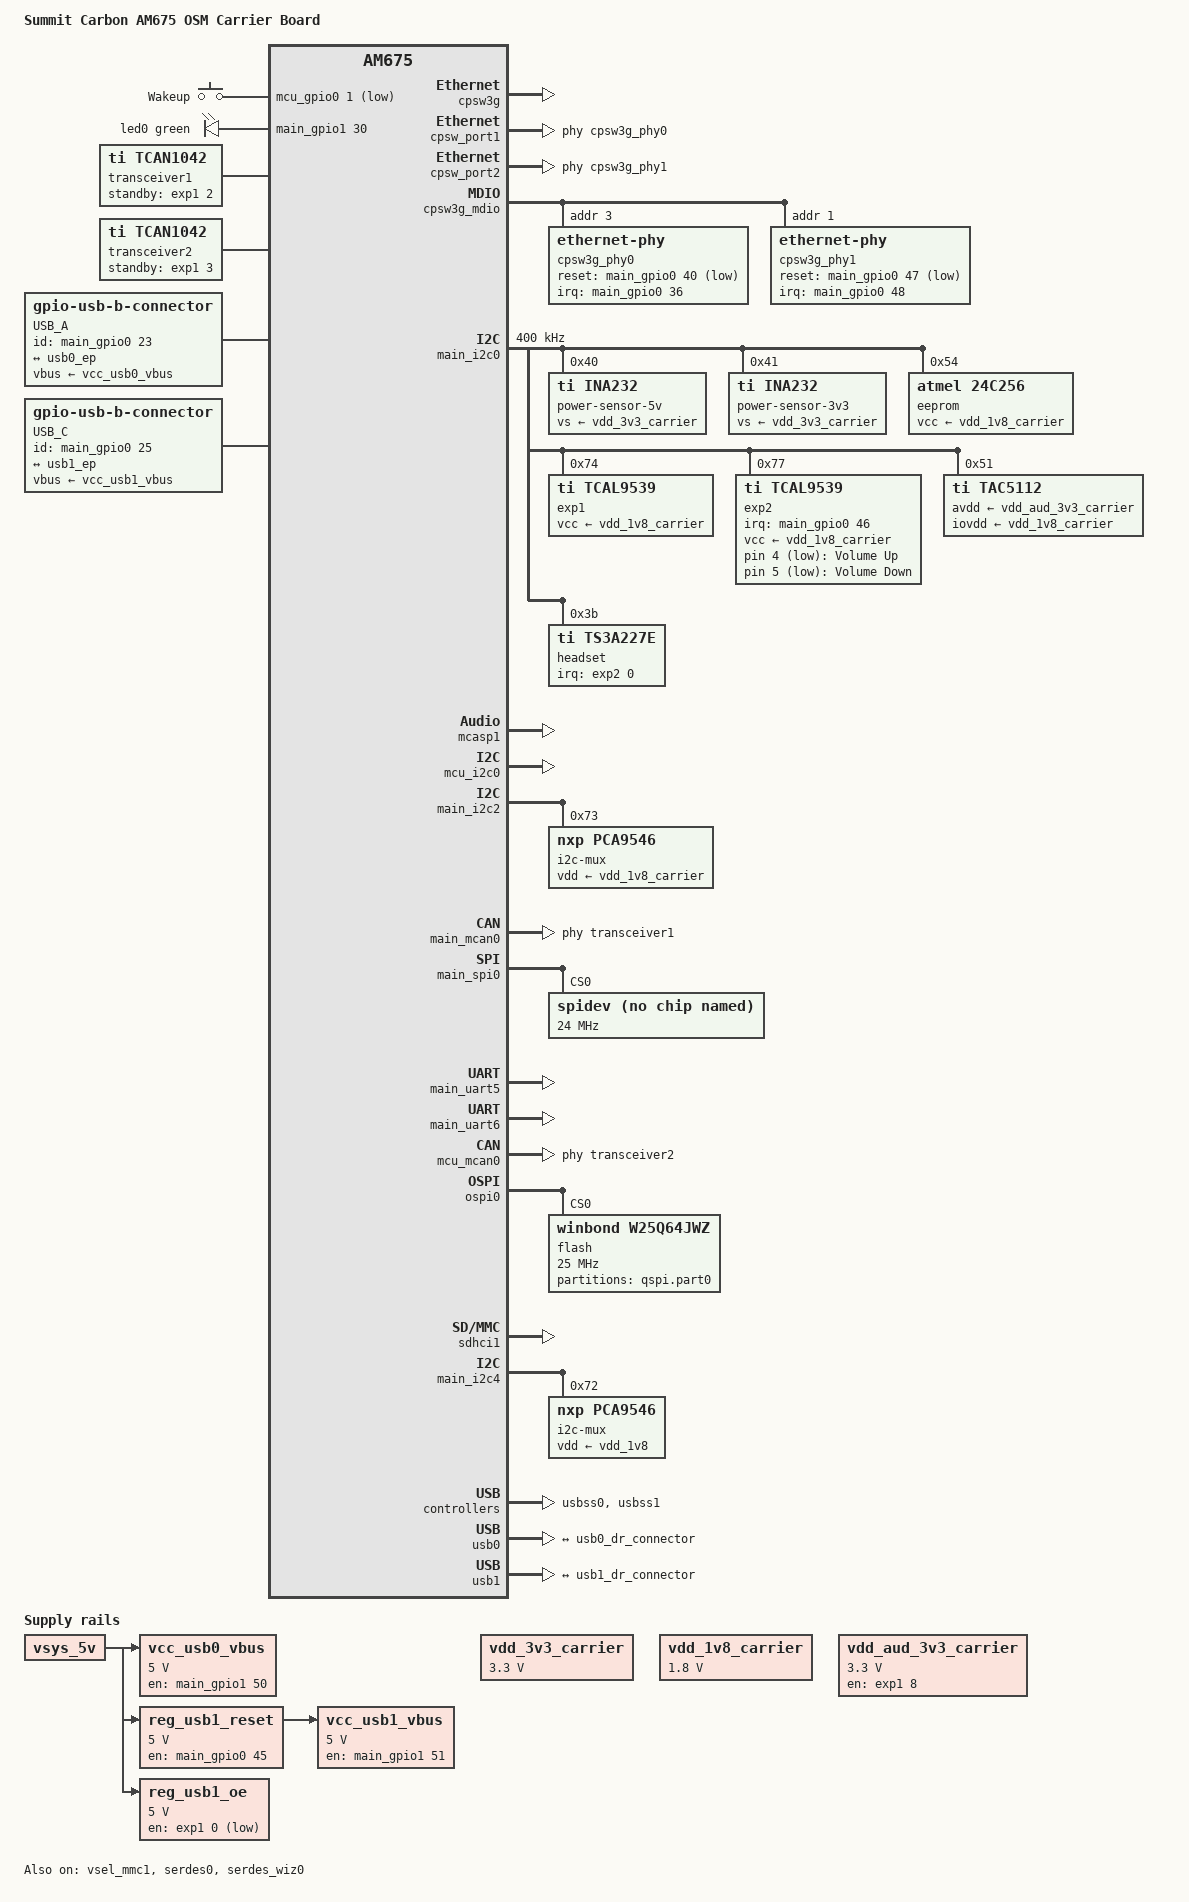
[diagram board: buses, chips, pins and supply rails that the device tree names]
// SPDX-License-Identifier: GPL-2.0-or-later OR MIT
/*
 * Copyright 2025 Ezurio LLC
 *
 */

/dts-v1/;

#include <dt-bindings/leds/common.h>

#include "k3-am675-carbon-som.dtsi"

/ {
	model = "Summit Carbon AM675 OSM Carrier Board";
	compatible = "summit,am675-dev", "ti,j722s";

	aliases {
		gpio4 = &exp1;
		gpio5 = &exp2;
	};

	vdd_3v3_carrier: regulator-u4-sw2 {
		/* output of U4 */
		compatible = "regulator-fixed";
		regulator-name = "vdd_3v3_carrier";
		regulator-min-microvolt = <3300000>;
		regulator-max-microvolt = <3300000>;
		regulator-always-on;
		regulator-boot-on;
	};

	vdd_1v8_carrier: regulator-u4-sw3 {
		/* output of U4 */
		compatible = "regulator-fixed";
		regulator-name = "vdd_1v8_carrier";
		regulator-min-microvolt = <1800000>;
		regulator-max-microvolt = <1800000>;
		regulator-always-on;
		regulator-boot-on;
	};

	vdd_aud_3v3_carrier: regulator-aud-pwr {
		compatible = "regulator-fixed";
		regulator-name = "vdd_aud_3v3_carrier";
		regulator-min-microvolt = <3300000>;
		regulator-max-microvolt = <3300000>;
		enable-active-high;
		gpio = <&exp1 8 GPIO_ACTIVE_HIGH>;
	};

	codec_audio: sound {
		compatible = "simple-audio-card";

		simple-audio-card,bitclock-master = <&dailink0_master>;
		simple-audio-card,frame-master = <&dailink0_master>;

		simple-audio-card,name = "ti,tac5x1x-soundcard";
		simple-audio-card,format = "i2s";

		simple-audio-card,widgets =
			"Headphone", "Headphone Jack",
			"Line",      "Line In",
			"Line",      "Line Out";

		simple-audio-card,routing =
			"Headphone Jack", "OUT1",
			"Headphone Jack", "OUT2",
			"AIN1", "Line In",
			"AIN2", "Line In",
			"Line Out", "OUT1",
			"Line Out", "OUT2";

		simple-audio-card,aux-devs = <&headset>;

		dailink0_master: simple-audio-card,cpu {
			sound-dai = <&mcasp1>;
			bitclock-master;
			frame-master;
			system-clock-direction-out;
		};

		simple-audio-card,codec {
			sound-dai = <&tac5112>;
		};
	};

	audio_volume {
		compatible = "gpio-keys";

		volume-up {
			label = "Volume Up";
			gpios = <&exp2 4 (GPIO_ACTIVE_LOW | GPIO_PULL_UP)>;
			linux,code = <KEY_VOLUMEUP>;
		};

		volume-down {
			label = "Volume Down";
			gpios = <&exp2 5 (GPIO_ACTIVE_LOW | GPIO_PULL_UP)>;
			linux,code = <KEY_VOLUMEDOWN>;
		};

		cpu_wakeup {
			label = "Wakeup";
			gpios = <&mcu_gpio0 1 GPIO_ACTIVE_LOW>;
			linux,code = <KEY_WAKEUP>;
			wakeup-source;
		};
	};

	leds {
		compatible = "gpio-leds";

		pinctrl-names = "default";
		pinctrl-0 = <&main_led_pins_default>;

		led0 {
			color = <LED_COLOR_ID_GREEN>;
			gpios = <&main_gpio1 30 GPIO_ACTIVE_HIGH>;
			default-state = "off";
		};
	};

	transceiver1: can-phy0 {
		compatible = "ti,tcan1042";
		#phy-cells = <0>;
		max-bitrate = <5000000>;
		standby-gpios = <&exp1 2 GPIO_ACTIVE_HIGH>; /* TCAN1046 STB is active HIGH */
	};

	transceiver2: can-phy1 {
		compatible = "ti,tcan1042";
		#phy-cells = <0>;
		max-bitrate = <5000000>;
		standby-gpios = <&exp1 3 GPIO_ACTIVE_HIGH>; /* TCAN1046 STB is active HIGH */
	};

	vcc_usb0_vbus: regulator-usb0-vbus {
		compatible = "regulator-fixed";
		vin-supply = <&vsys_5v>;
		pinctrl-names = "default";
		pinctrl-0 = <&main_usb0_pins_default>;
		enable-active-high;
		gpio = <&main_gpio1 50 GPIO_ACTIVE_HIGH>;
		regulator-max-microvolt = <5000000>;
		regulator-min-microvolt = <5000000>;
		regulator-name = "vcc_usb0_vbus";
	};

	reg_usb1_reset: regulator-usb1-reset {
		compatible = "regulator-fixed";
		vin-supply = <&vsys_5v>;
		pinctrl-names = "default";
		pinctrl-0 = <&main_usb_c_reset_pins_default>;
		enable-active-high;
		gpio = <&main_gpio0 45 GPIO_ACTIVE_HIGH>;
		regulator-max-microvolt = <5000000>;
		regulator-min-microvolt = <5000000>;
		regulator-name = "reg_usb1_reset";
	};

	reg_usb1_oe: regulator-usb1-oe {
		compatible = "regulator-fixed";
		vin-supply = <&vsys_5v>;
		gpio = <&exp1 0 GPIO_ACTIVE_HIGH>;
		regulator-max-microvolt = <5000000>;
		regulator-min-microvolt = <5000000>;
		regulator-name = "reg_usb1_oe";
		regulator-always-on;
	};

	vcc_usb1_vbus: regulator-usb1-vbus {
		compatible = "regulator-fixed";
		vin-supply = <&reg_usb1_reset>;
		pinctrl-names = "default";
		pinctrl-0 = <&main_usb1_pins_default>;
		enable-active-high;
		gpio = <&main_gpio1 51 GPIO_ACTIVE_HIGH>;
		regulator-max-microvolt = <5000000>;
		regulator-min-microvolt = <5000000>;
		regulator-name = "vcc_usb1_vbus";
	};

	con_usb0: connector-usb0 {
		compatible = "gpio-usb-b-connector", "usb-b-connector";
		pinctrl-names = "default";
		pinctrl-0 = <&usb_a_id_pins_default>;
		id-gpios = <&main_gpio0 23 GPIO_ACTIVE_HIGH>;
		label = "USB_A";
		self-powered;
		vbus-supply = <&vcc_usb0_vbus>;

		port {
			usb0_dr_connector: endpoint {
				remote-endpoint = <&usb0_ep>;
			};
		};
	};

	con_usb1: connector-usb1 {
		compatible = "gpio-usb-b-connector", "usb-c-connector";
		pinctrl-names = "default";
		pinctrl-0 = <&usb_c_id_pins_default>;
		id-gpios = <&main_gpio0 25 GPIO_ACTIVE_HIGH>;
		label = "USB_C";
		self-powered;
		vbus-supply = <&vcc_usb1_vbus>;

		port {
			usb1_dr_connector: endpoint {
				remote-endpoint = <&usb1_ep>;
			};
		};
	};
};

&cpsw3g {
	status = "okay";
};

&cpsw_port1 {
	status = "okay";
	phy-handle = <&cpsw3g_phy0>;
};

&cpsw_port2 {
	status = "okay";
	phy-handle = <&cpsw3g_phy1>;
};

&cpsw3g_mdio {
	pinctrl-names = "default";
	pinctrl-0 = <&main_mdio0_pins_default>, <&main_rgmii_phy0_gpio>,
		<&main_rgmii_phy1_gpio>;

	status = "okay";

	cpsw3g_phy0: ethernet-phy@3 {
		reg = <3>;
		interrupts-extended = <&main_gpio0 36 IRQ_TYPE_EDGE_FALLING>;
		reset-gpios = <&main_gpio0 40 GPIO_ACTIVE_LOW>;
		reset-assert-us = <150>;
		reset-deassert-us = <300>;
		ti,rx-internal-delay = <DP83867_RGMIIDCTL_2_00_NS>;
		tx-fifo-depth = <DP83867_PHYCR_FIFO_DEPTH_4_B_NIB>;
		rx-fifo-depth = <DP83867_PHYCR_FIFO_DEPTH_4_B_NIB>;
		ti,clk-output-sel = <DP83867_CLK_O_SEL_OFF>;
	};

	cpsw3g_phy1: ethernet-phy@1 {
		reg = <1>;
		interrupts-extended = <&main_gpio0 48 IRQ_TYPE_EDGE_FALLING>;
		reset-gpios = <&main_gpio0 47 GPIO_ACTIVE_LOW>;
		reset-assert-us = <150>;
		reset-deassert-us = <300>;
		ti,rx-internal-delay = <DP83867_RGMIIDCTL_2_00_NS>;
		tx-fifo-depth = <DP83867_PHYCR_FIFO_DEPTH_4_B_NIB>;
		rx-fifo-depth = <DP83867_PHYCR_FIFO_DEPTH_4_B_NIB>;
		ti,clk-output-sel = <DP83867_CLK_O_SEL_OFF>;
	};
};

&main_i2c0 { /* I2C_A */
	status = "okay";
	clock-frequency = <400000>;

	power-sensor-5v@40 {
		compatible = "ti,ina232"; /* TI, INA232AIDDFR */
		reg = <0x40>;
		vs-supply = <&vdd_3v3_carrier>;
		shunt-resistor = <33000>; /* 0.033 Ohms */
	};

	power-sensor-3v3@41 {
		compatible = "ti,ina232"; /* TI, INA232AIDDFR */
		reg = <0x41>;
		vs-supply = <&vdd_3v3_carrier>;
		shunt-resistor = <33000>; /* 0.033 Ohms */
	};

	eeprom@54 {
		/* U53, Giantec, GT24C256C-2GLI-TR */
		compatible = "atmel,24c256";
		reg = <0x54>;
		vcc-supply = <&vdd_1v8_carrier>;
	};

	exp1: gpio@74 {
		/* U35, TI, TCAL9539RTWR */
		compatible = "ti,tcal9539";
		vcc-supply = <&vdd_1v8_carrier>;
		reg = <0x74>;

		#gpio-cells = <2>;
		gpio-controller;

		gpio-line-names = "USB_C_OEn_P00", "USB_D_OEn_P01",
			"CAN_A_STB", "CAN_B_STB",
			"M2_WDISABLE1#", "M2_WDISABLE2#",
			"M2_WL_DEVICE_WAKE", "M2_BT_DEVICE_WAKE",
			"AUD_PWR_EN", "M2_Vendor_DF38", "M2_SD_RST#",
			"CHGR_CE#", "M2_POWER_EN",
			"SDIO_A_SWITCH_EN", "SDIO_A_SEL", "";
	};

	exp2: gpio@77 {
		/* U21, TI, TCAL9539RTWR */
		compatible = "ti,tcal9539";
		vcc-supply = <&vdd_1v8_carrier>;
		reg = <0x77>;
		#gpio-cells = <2>;
		gpio-controller;

		gpio-line-names = "ACD_nINT", "M2_UART_WAKE",
			"M2_SD_HOST_WAKE", "CHRGR_INTn", 
			"VOL_UP", "VOL_DOWN",
			"", "",
			"LVDS_C_INT", "LVDS_C_HPD",
			"LVDS_D_INT", "LVDS_D_HPD",
			"LVDS_E_INT", "LVDS_E_HPD",
			"RGB_INT", "RGB_HDMI_HPD";

		pinctrl-names = "default";
		pinctrl-0 = <&main_exp2_pins_default>;

		#interrupt-cells = <2>;
		interrupt-controller;
		interrupts-extended = <&main_gpio0 46 IRQ_TYPE_EDGE_FALLING>;
		interrupt-names = "irq";
	};

	tac5112: audio-codec@51 {
		/* U19, TI, XTAC5112IRGER */
		#sound-dai-cells = <0>;
		compatible = "ti,tac5112";
		reg = <0x51>;

		ti,vref = <0>;  /* 2.75V */
		ti,micbias-vg = <0>; /* same as Vref */
		ti,gpios-func = <0>, <0>, <0>; /* GPIOx - Disable */
		ti,gpi1-func = <0>;

		avdd-supply = <&vdd_aud_3v3_carrier>;
		iovdd-supply = <&vdd_1v8_carrier>;
	};

	headset: ts3a227e@3b {
		/* U20, TI, TS3A227ERVAR */
		compatible = "ti,ts3a227e";
		reg = <0x3b>;

		interrupts-extended = <&exp2 0 IRQ_TYPE_EDGE_FALLING>;
		interrupt-names = "irq";
		ti,micbias = <6>; /* 2.7V, must match mic bias from codec */
	};
};

&mcasp1 {
	status = "okay";
};

&mcu_i2c0 { /* I2C_B */
	status = "okay";
};

&main_i2c2 { /* I2C_CAM */
	status = "okay";

	i2c-mux@73 {
		compatible = "nxp,pca9546"; /* U34 TCA9546APWR */
		reg = <0x73>;
		vdd-supply = <&vdd_1v8_carrier>;
		#address-cells = <1>;
		#size-cells = <0>;

		i2c_cam_a: i2-cam-a@0 {
			reg = <0>;
			#address-cells = <1>;
			#size-cells = <0>;
		};

		i2c_cam_b: i2-cam-b@1 {
			reg = <1>;
			#address-cells = <1>;
			#size-cells = <0>;
		};

		i2c_cam_c: i2-cam-c@2 {
			reg = <2>;
			#address-cells = <1>;
			#size-cells = <0>;
		};

		i2c_cam_d: i2-cam-d@3 {
			reg = <3>;
			#address-cells = <1>;
			#size-cells = <0>;
		};
	};
};

&main_mcan0 { /* CAN_A */
	status = "okay";
	phys = <&transceiver1>;
};

&main_pmx0 {
	main_exp2_pins_default: main-exp2-default-pins {
		pinctrl-single,pins = <
			J722S_IOPAD(0x0bc, PIN_INPUT_PULLUP, 7) /* GPIO_A_3 (W25) VOUT0_DATA1.GPIO0_46 */
		>;
	};

	main_rgmii_phy0_gpio: main-rgmii-phy0-gpio-default-pins {
		pinctrl-single,pins = <
			J722S_IOPAD(0x0a4, PIN_INPUT, 7) /* ETH_A_RST (N25) GPMC0_DIR.GPIO0_40 */
			J722S_IOPAD(0x094, PIN_INPUT, 7) /* ETH_A_INT (P26) GPMC0_BE1N.GPIO0_36 */
		>;
	};

	main_rgmii_phy1_gpio: main-rgmii-phy1-gpio-default-pins {
		pinctrl-single,pins = <
			J722S_IOPAD(0x0c0, PIN_INPUT, 7) /* ETH_B_RST (W24) VOUT0_DATA2.GPIO0_47 */
			J722S_IOPAD(0x0c4, PIN_INPUT, 7) /* ETH_B_INT (W23) VOUT0_DATA3.GPIO0_48 */
		>;
	};

	main_led_pins_default: main-led-default-pins {
		pinctrl-single,pins = <
			J722S_IOPAD(0x1f0, PIN_OUTPUT, 7) /* (A23) EXTREFCLK1.GPIO1_30 */
		>;
	};

	main_usb_c_reset_pins_default: main-usb-c-reset-default-pins {
		pinctrl-single,pins = <
			J722S_IOPAD(0x0b8, PIN_INPUT, 7) /* USB_C_PD_RST (W27) VOUT0_DATA0.GPIO0_45 */
		>;
	};
};

&main_usb0_pins_default {
	pinctrl-single,pins = <
		J722S_IOPAD(0x254, PIN_OUTPUT, 7) /* (E25) USB0_DRVVBUS.GPIO1_50 */
	>;
};

&main_usb1_pins_default {
	pinctrl-single,pins = <
		J722S_IOPAD(0x258, PIN_OUTPUT, 7) /* (B27) USB1_DRVVBUS.GPIO1_51 */
	>;
};

&main_spi0 { /* SPI_C */
	status = "okay";

	spidev@0 {
		compatible = "rohm,dh2228fv";
		spi-max-frequency = <24000000>;
		reg = <0>;
	};
};

&main_uart5 { /* UART_D */
	status = "okay";
};

&main_uart6 { /* UART_A */
	status = "okay";
};

&mcu_mcan0 { /* CAN_B */
	status = "okay";
	phys = <&transceiver2>;
};

&ospi0 { /* SPI_A Used as a qSPI */
	status = "okay";

	flash@0 {
		compatible = "winbond,w25q64jwz", "jedec,spi-nor";
		reg = <0>;
		spi-rx-bus-width = <4>;
		spi-tx-bus-width = <4>;
		spi-max-frequency = <25000000>;
		cdns,tshsl-ns = <60>;
		cdns,tsd2d-ns = <60>;
		cdns,tchsh-ns = <60>;
		cdns,tslch-ns = <60>;
		cdns,read-delay = <4>;

		partitions {
			compatible = "fixed-partitions";
			#address-cells = <1>;
			#size-cells = <1>;

			/* Sample  partition occupies full size of the device */
			partition@0 {
				label = "qspi.part0";
				reg = <0x0 0>;
			};
		};
	};
};

&vsel_mmc1 {
	status = "okay";
};

&vdd_mmc1 {
	status = "okay";
};

&sdhci1 { /* SDIO_A uSD / M.2_SDIO */
	status = "okay";
};

&main_i2c4 { /* I2C_C */
	status = "okay";

	i2c-mux@72 {
		compatible = "nxp,pca9546"; /* U22 TCA9546APWR */
		reg = <0x72>;

		vdd-supply = <&vdd_1v8>;
		#address-cells = <1>;
		#size-cells = <0>;

		i2c_port_c: i2-c-port-c@0 {
			reg = <0>;
			#address-cells = <1>;
			#size-cells = <0>;
		};

		i2c_port_d: i2-c-port-d@1 {
			reg = <1>;
			#address-cells = <1>;
			#size-cells = <0>;
		};

		i2c_port_e: i2-c-port-e@2 {
			reg = <2>;
			#address-cells = <1>;
			#size-cells = <0>;
		};

		i2c_port_rgb: i2-c-port-rgb@3 {
			reg = <3>;
			#address-cells = <1>;
			#size-cells = <0>;
		};
	};
};

&usbss0 {
	status = "okay";
	ti,vbus-divider;
};

&usbss1 {
	status = "okay";
	ti,vbus-divider;
};

&usb0 {
	adp-disable;
	usb-role-switch;

	port {
		usb0_ep: endpoint {
			remote-endpoint = <&usb0_dr_connector>;
		};
	};
};

&usb1 {
	usb-role-switch;

	port {
		usb1_ep: endpoint {
			remote-endpoint = <&usb1_dr_connector>;
		};
	};
};

&serdes0 {
	status = "okay";
};

&serdes_wiz0 {
	status = "okay";
};

